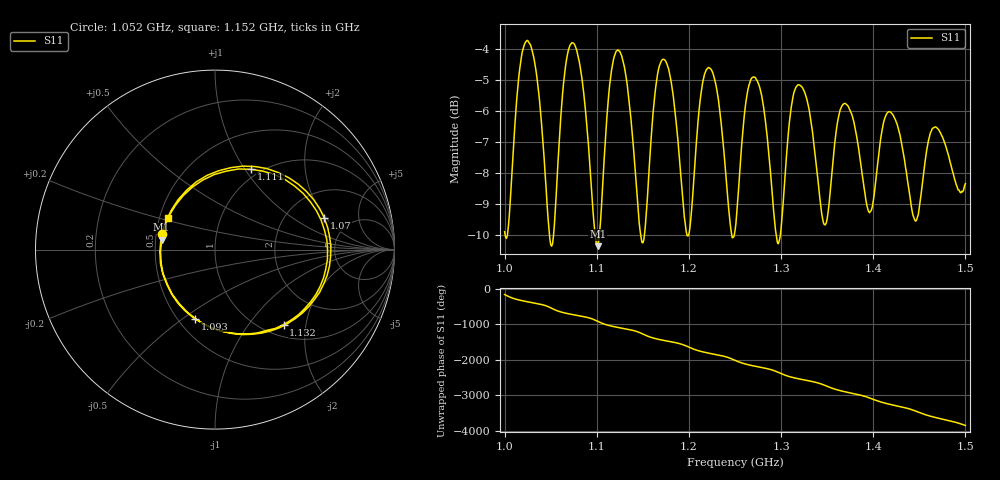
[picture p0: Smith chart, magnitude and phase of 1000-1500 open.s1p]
! NanoVNA-App by SYSJOINT et al v1.1.209 (+OD18)
! Date: 2025-09-17 10:18:51
! Start: 1GHz Stop: 1.5GHz Points: 501
! S-Parameter data: F S11
# Hz S RI R 50
!  Frequency  S11_Real  S11_Imag
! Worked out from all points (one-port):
!   501 points, 1 GHz to 1.5 GHz, reference 50 ohm
!   lowest |S11| = -10.4 dB at 1.101 GHz (marker M1), VSWR 1.87, Z = 26.9 + j3.31 ohm
!   |S11| at or under -10 dB: 1.048655 GHz to 1.053138 GHz (4.483 MHz wide, 0.427 % of centre); 1.098249 GHz to 1.10283 GHz (4.582 MHz wide, 0.416 % of centre); 1.294652 GHz to 1.29926 GHz (4.608 MHz wide, 0.355 % of centre) (the widest 3 of 7)
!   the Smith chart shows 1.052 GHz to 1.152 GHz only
!   S11 on the Smith chart (normalised r, x): 1.052 GHz: 0.54, +0.10; 1.07 GHz: 3.24, +1.92; 1.093 GHz: 0.61, -0.56; 1.111 GHz: 0.91, +1.07; 1.132 GHz: 1.22, -1.50; 1.152 GHz: 0.55, +0.22
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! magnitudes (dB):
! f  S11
! 1 GHz  -9.9
! 1.025 GHz  -3.7
! 1.052 GHz  -10.3
! 1.063 GHz  -5.4
! 1.07 GHz  -4.0
! 1.093 GHz  -8.0
! 1.101 GHz  -10.4
! 1.111 GHz  -6.2
! 1.125 GHz  -4.1
! 1.132 GHz  -4.9
! 1.152 GHz  -9.9
! 1.169 GHz  -4.5
! 1.188 GHz  -6.9
! 1.199 GHz  -10.0
! 1.224 GHz  -4.7
! 1.25 GHz  -9.9
! 1.267 GHz  -5.0
! 1.297 GHz  -10.3
! 1.313 GHz  -5.5
! 1.328 GHz  -5.6
! 1.347 GHz  -9.7
! 1.375 GHz  -6.0
! 1.395 GHz  -9.3
! 1.416 GHz  -6.0
! 1.438 GHz  -8.4
! 1.447 GHz  -9.5
! 1.467 GHz  -6.5
! 1.5 GHz  -8.4
